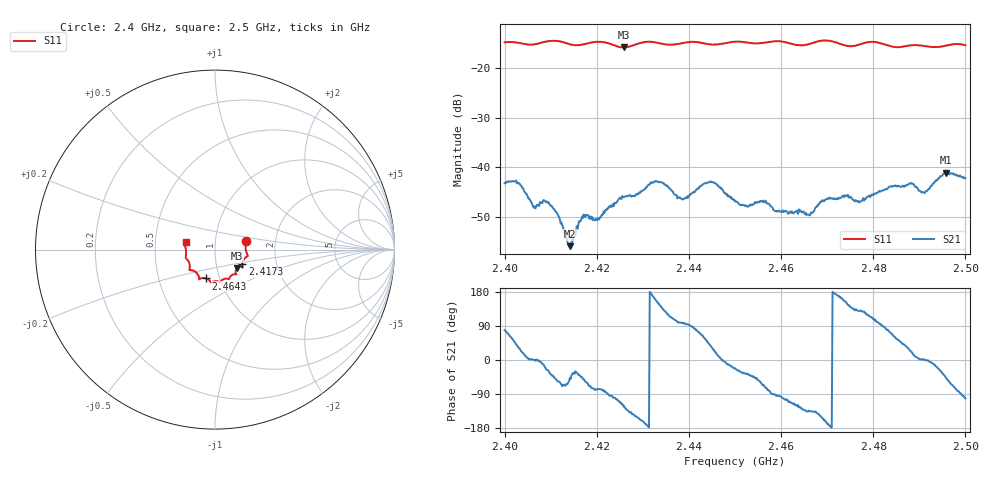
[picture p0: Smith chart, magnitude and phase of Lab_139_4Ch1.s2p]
# Hz S RI R 50
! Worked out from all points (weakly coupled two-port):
!   601 points, 2.4 GHz to 2.5 GHz, reference 50 ohm
!   highest |S21| = -41.09 dB at 2.4958 GHz (marker M1); lowest = -55.8 dB at 2.4142 GHz (marker M2)
!   lowest |S11| = -15.9 dB at 2.4258 GHz (marker M3), VSWR 1.38, Z = 62.3 - j13.3 ohm
!   |S11| at or under -10 dB: start of sweep to end of sweep
!   S12 and S22 are empty: the file has one direction only
!   S11 on the Smith chart (normalised r, x): 2.4 GHz: 1.41, +0.14; 2.4173 GHz: 1.34, -0.23; 2.4643 GHz: 0.86, -0.28; 2.5 GHz: 0.72, +0.06
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2.4e9  0.1736 0.0485  0.00134 0.0068  0 0  0 0
2.403e9  0.1747 0.034  0.0058 0.00368  0 0  0 0
2.406333e9  0.1715 -0.00264  0.00394 5.32e-05  0 0  0 0
2.409667e9  0.1826 -0.0322  0.0037 -0.00228  0 0  0 0
2.414167e9  0.1654 -0.0484  0.0011 -0.00118  0 0  0 0
2.416667e9  0.1529 -0.0747  0.00214 -0.00212  0 0  0 0
2.417333e9  0.152 -0.0823  0.00193 -0.00265  0 0  0 0
2.420167e9  0.154 -0.0979  0.000631 -0.00295  0 0  0 0
2.425833e9  0.1217 -0.1039  -0.00251 -0.00433  0 0  0 0
2.433333e9  0.1125 -0.1372  -0.00614 0.00357  0 0  0 0
2.438667e9  0.0808 -0.1578  -0.000694 0.00473  0 0  0 0
2.445e9  0.0554 -0.1621  0.00593 0.00382  0 0  0 0
2.45e9  0.0284 -0.1808  0.00422 -0.00167  0 0  0 0
2.464333e9  -0.0498 -0.1605  -0.00213 -0.00293  0 0  0 0
2.466667e9  -0.0759 -0.1592  -0.00253 -0.00241  0 0  0 0
2.47e9  -0.0884 -0.1658  -0.00476 -0.00101  0 0  0 0
2.477167e9  -0.1279 -0.1157  -0.00294 0.00342  0 0  0 0
2.483333e9  -0.1404 -0.0898  0.00143 0.00616  0 0  0 0
2.488333e9  -0.1611 -0.0488  0.0065 0.00246  0 0  0 0
2.491167e9  -0.1618 -0.0331  0.0055 -2.77e-05  0 0  0 0
2.495833e9  -0.1663 0.0182  0.00597 -0.0065  0 0  0 0
2.5e9  -0.1633 0.0425  -0.00154 -0.00768  0 0  0 0
